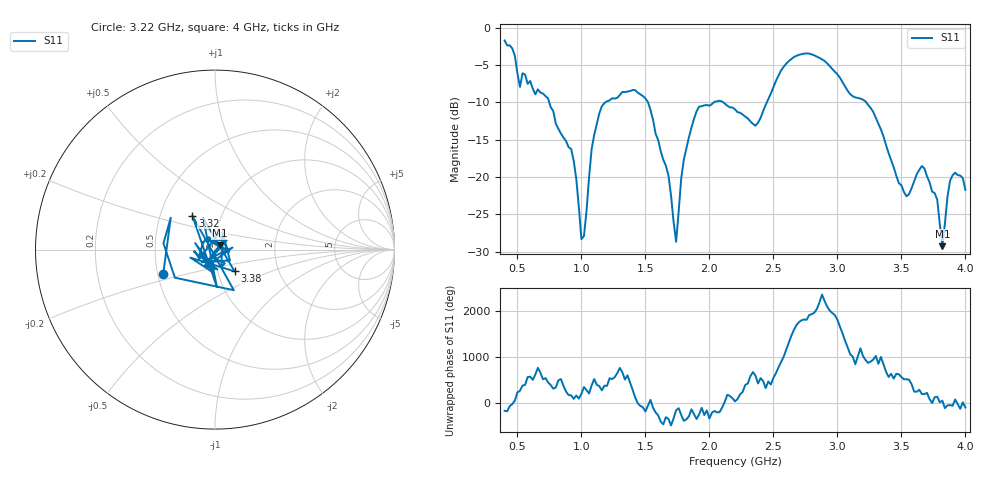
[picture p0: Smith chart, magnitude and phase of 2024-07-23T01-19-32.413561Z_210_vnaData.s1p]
!Created with skrf (http://scikit-rf.org).
# Hz S RI R 50.0
!freq ReS11 ImS11
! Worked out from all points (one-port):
!   181 points, 400 MHz to 4 GHz, reference 50 ohm
!   lowest |S11| = -29.3 dB at 3.82 GHz (marker M1), VSWR 1.07, Z = 52.6 + j2.41 ohm
!   |S11| at or under -10 dB: 748.7 MHz to 1.189 GHz (440 MHz wide, 45.4 % of centre); 1.52 GHz to 2.035 GHz (514.9 MHz wide, 29 % of centre); 3.225 GHz to end of sweep (the widest 3 of 4)
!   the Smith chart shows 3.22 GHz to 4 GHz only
!   S11 on the Smith chart (normalised r, x): 3.22 GHz: 0.53, -0.16; 3.32 GHz: 0.73, +0.29; 3.38 GHz: 1.20, -0.30; 4 GHz: 0.94, -0.15
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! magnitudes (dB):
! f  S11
! 400 MHz  -1.7
! 520 MHz  -7.9
! 740 MHz  -9.5
! 860 MHz  -14.7
! 940 MHz  -17.9
! 1 GHz  -28.3
! 1.08 GHz  -16.3
! 1.14 GHz  -11.5
! 1.3 GHz  -9.0
! 1.52 GHz  -10.0
! 1.68 GHz  -19.8
! 1.74 GHz  -28.7
! 1.76 GHz  -24.6
! 1.8 GHz  -17.7
! 1.92 GHz  -10.6
! 2.2 GHz  -10.9
! 2.36 GHz  -13.1
! 2.66 GHz  -3.9
! 3.1 GHz  -8.9
! 3.22 GHz  -9.9
! 3.32 GHz  -12.9
! 3.38 GHz  -15.7
! 3.56 GHz  -22.3
! 3.68 GHz  -18.9
! 3.78 GHz  -23.1
! 3.82 GHz  -29.3
! 3.88 GHz  -20.5
! 4 GHz  -21.7
